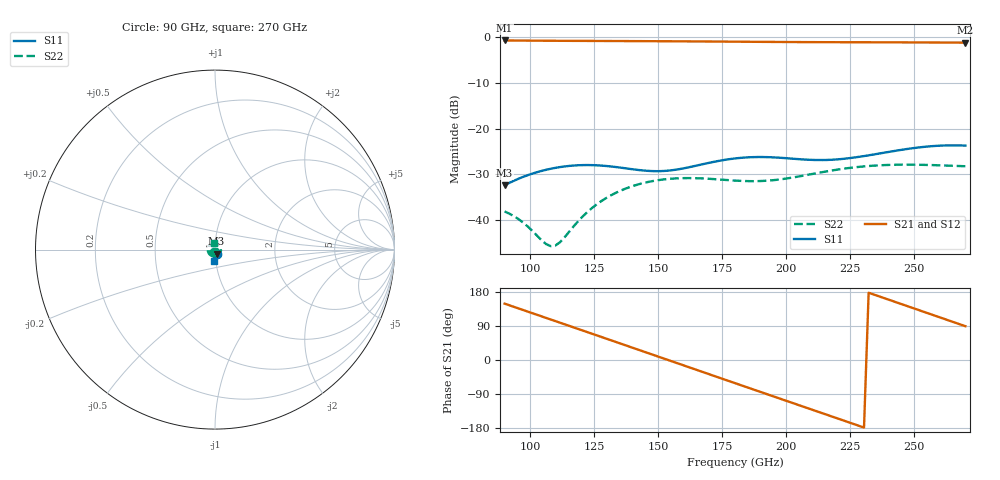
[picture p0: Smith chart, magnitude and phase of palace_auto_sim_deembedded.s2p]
! Created with skrf 1.11.0 (http://scikit-rf.org).
# GHz S DB R 50.0
!freq dBS11 angS11 dBS21 angS21 dBS12 angS12 dBS22 angS22
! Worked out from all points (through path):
!   101 points, 90 GHz to 270 GHz, reference 50 ohm
!   highest |S21| = -0.76 dB at 90 GHz (marker M1); lowest = -1.2 dB at 270 GHz (marker M2)
!   group delay of S21, straight-line fit = 6.47 ps
!   lowest |S11| = -32.3 dB at 90 GHz (marker M3), VSWR 1.05, Z = 50.8 - j2.29 ohm
!   |S11| at or under -10 dB: start of sweep to end of sweep
!   |S22| runs from -45.6 to -27.9 dB; largest |S21 - S12| = 1e-13
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90  -32.34 -69.0  -0.76 148.7  -0.76 148.7  -38.07 -121.0
99  -30.16 -70.8  -0.80 127.8  -0.80 127.8  -41.33 -156.0
108  -28.75 -77.1  -0.83 106.9  -0.83 106.9  -45.64 131.8
111.6  -28.39 -80.2  -0.84 98.5  -0.84 98.5  -44.80 92.2
120.6  -27.95 -87.8  -0.86 77.6  -0.86 77.6  -39.10 30.0
127.8  -28.06 -92.9  -0.87 60.8  -0.87 60.8  -35.80 -0.2
136.8  -28.62 -96.0  -0.89 39.8  -0.89 39.8  -33.18 -32.6
151.2  -29.26 -90.3  -0.93 6.2  -0.93 6.2  -31.15 -83.1
158.4  -28.82 -85.6  -0.95 -10.6  -0.95 -10.6  -30.82 -109.6
165.6  -27.98 -83.3  -0.98 -27.4  -0.98 -27.4  -30.83 -137.8
180  -26.50 -86.7  -1.03 -61.1  -1.03 -61.1  -31.33 158.7
187.2  -26.21 -90.2  -1.05 -77.8  -1.05 -77.8  -31.46 123.2
194.4  -26.25 -93.2  -1.08 -94.6  -1.08 -94.6  -31.27 86.3
201.6  -26.52 -94.3  -1.10 -111.3  -1.10 -111.3  -30.75 49.6
210.6  -26.83 -92.4  -1.13 -132.2  -1.13 -132.2  -29.85 5.6
219.6  -26.72 -88.3  -1.14 -153.2  -1.14 -153.2  -28.97 -36.2
226.8  -26.28 -85.2  -1.15 -169.9  -1.15 -169.9  -28.44 -68.4
234  -25.65 -83.6  -1.16 173.3  -1.16 173.3  -28.08 -100.1
241.2  -24.97 -83.5  -1.17 156.5  -1.17 156.5  -27.90 -131.7
255.6  -23.88 -87.7  -1.20 122.8  -1.20 122.8  -27.93 164.2
262.8  -23.66 -91.0  -1.22 106.0  -1.22 106.0  -28.06 131.2
270  -23.70 -94.2  -1.24 89.2  -1.24 89.2  -28.20 97.4
